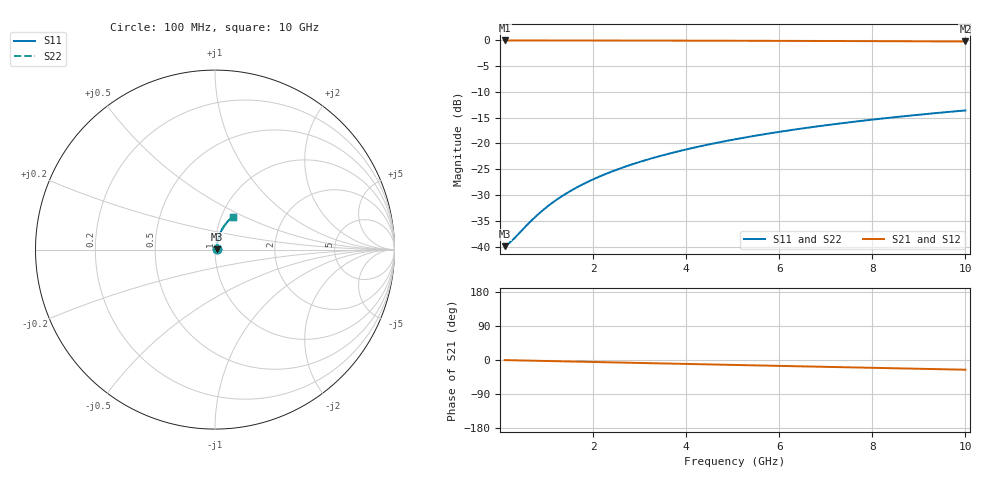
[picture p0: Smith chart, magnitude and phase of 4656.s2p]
# Hz S RI R 50.00
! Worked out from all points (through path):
!   100 points, 100 MHz to 10 GHz, reference 50 ohm
!   highest |S21| = -0.09 dB at 100 MHz (marker M1); lowest = -0.3 dB at 10 GHz (marker M2)
!   group delay of S21, straight-line fit = 7.13 ps
!   lowest |S11| = -39.9 dB at 100 MHz (marker M3), VSWR 1.02, Z = 51 + j0.218 ohm
!   |S11| at or under -10 dB: start of sweep to end of sweep
!   |S22| runs from -39.9 to -13.6 dB; largest |S21 - S12| = 0
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1e8  0.00989 0.00214  0.9901 -0.00449  0.9901 -0.00449  0.00989 0.00214
2e8  0.00998 0.00428  0.99 -0.00898  0.99 -0.00898  0.00998 0.00428
3e8  0.0101 0.00642  0.9899 -0.0135  0.9899 -0.0135  0.0101 0.00642
7e8  0.0106 0.015  0.9893 -0.0314  0.9893 -0.0314  0.0106 0.015
8e8  0.0108 0.0171  0.989 -0.0359  0.989 -0.0359  0.0108 0.0171
1e9  0.0111 0.0213  0.9886 -0.0449  0.9886 -0.0449  0.0111 0.0213
1.2e9  0.0116 0.0256  0.988 -0.0538  0.988 -0.0538  0.0116 0.0256
1.4e9  0.0121 0.0298  0.9873 -0.0628  0.9873 -0.0628  0.0121 0.0298
1.6e9  0.0128 0.0341  0.9865 -0.0717  0.9865 -0.0717  0.0128 0.0341
1.8e9  0.0134 0.0383  0.9856 -0.0806  0.9856 -0.0806  0.0134 0.0383
2.1e9  0.0146 0.0446  0.9841 -0.094  0.9841 -0.094  0.0146 0.0446
2.5e9  0.0164 0.0529  0.9818 -0.1117  0.9818 -0.1117  0.0164 0.0529
2.9e9  0.0185 0.0612  0.9791 -0.1294  0.9791 -0.1294  0.0185 0.0612
3.4e9  0.0216 0.0713  0.9751 -0.1514  0.9751 -0.1514  0.0216 0.0713
3.8e9  0.0244 0.0794  0.9715 -0.1688  0.9715 -0.1688  0.0244 0.0794
4.2e9  0.0274 0.0873  0.9676 -0.1861  0.9676 -0.1861  0.0274 0.0873
5.1e9  0.0353 0.1046  0.9573 -0.2247  0.9573 -0.2247  0.0353 0.1046
5.9e9  0.0434 0.1194  0.9467 -0.2583  0.9467 -0.2583  0.0434 0.1194
6.7e9  0.0525 0.1335  0.9348 -0.2912  0.9348 -0.2912  0.0525 0.1335
7.5e9  0.0626 0.1469  0.9215 -0.3234  0.9215 -0.3234  0.0626 0.1469
8.4e9  0.0749 0.1609  0.905 -0.3587  0.905 -0.3587  0.0749 0.1609
1e10  0.0993 0.1831  0.8723 -0.4186  0.8723 -0.4186  0.0993 0.1831
